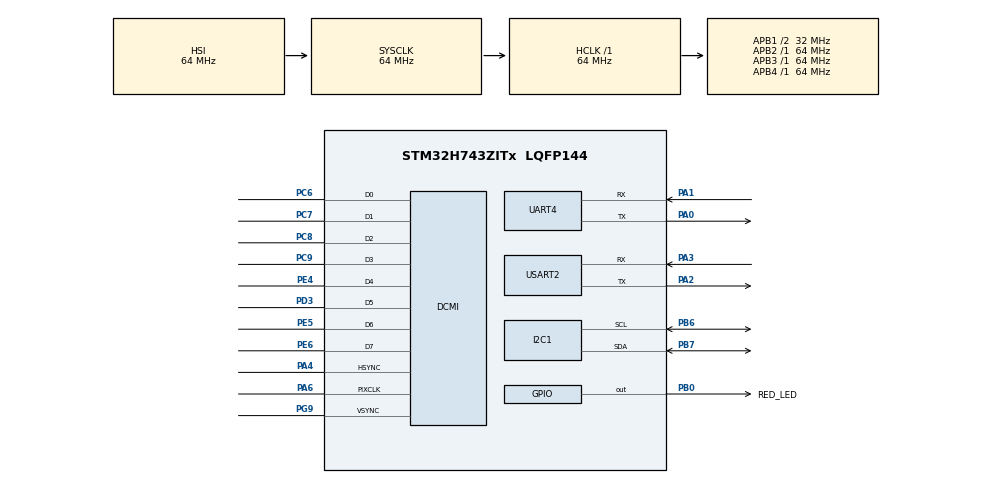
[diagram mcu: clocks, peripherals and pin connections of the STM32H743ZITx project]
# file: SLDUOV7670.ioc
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DCMI.JPEGMode=DCMI_JPEG_DISABLE
Dma.DCMI.0.Direction=DMA_PERIPH_TO_MEMORY
Dma.DCMI.0.EventEnable=DISABLE
Dma.DCMI.0.FIFOMode=DMA_FIFOMODE_DISABLE
Dma.DCMI.0.Instance=DMA1_Stream0
Dma.DCMI.0.MemDataAlignment=DMA_MDATAALIGN_WORD
Dma.DCMI.0.MemInc=DMA_MINC_ENABLE
Dma.DCMI.0.Mode=DMA_NORMAL
Dma.DCMI.0.PeriphDataAlignment=DMA_PDATAALIGN_WORD
Dma.DCMI.0.PeriphInc=DMA_PINC_DISABLE
Dma.DCMI.0.Polarity=HAL_DMAMUX_REQ_GEN_RISING
Dma.DCMI.0.Priority=DMA_PRIORITY_LOW
Dma.DCMI.0.RequestNumber=1
Dma.DCMI.0.SignalID=NONE
Dma.DCMI.0.SyncEnable=DISABLE
Dma.DCMI.0.SyncPolarity=HAL_DMAMUX_SYNC_NO_EVENT
Dma.DCMI.0.SyncRequestNumber=1
Dma.DCMI.0.SyncSignalID=NONE
Dma.Request0=DCMI
I2C1.Timing=0x00707CBB
Mcu.Family=STM32H7
Mcu.Name=STM32H743ZITx
Mcu.Package=LQFP144
NVIC.DMA1_Stream0_IRQn=true\:0\:0\:false\:false\:true\:false\:true\:true
NVIC.PriorityGroup=NVIC_PRIORITYGROUP_4
NVIC.USART2_IRQn=true\:0\:0\:false\:false\:true\:true\:true\:true
PA0.Mode=Asynchronous
PA0.Signal=UART4_TX
PA1.Mode=Asynchronous
PA1.Signal=UART4_RX
PA2.Mode=Asynchronous
PA2.Signal=USART2_TX
PA3.Mode=Asynchronous
PA3.Signal=USART2_RX
PA4.Mode=Slave_8_bits_External_Synchro
PA4.Signal=DCMI_HSYNC
PA6.Mode=Slave_8_bits_External_Synchro
PA6.Signal=DCMI_PIXCLK
PB0.GPIO_Label=RED_LED
PB0.Signal=GPIO_Output
PB6.Mode=I2C
PB6.Signal=I2C1_SCL
PB7.Mode=I2C
PB7.Signal=I2C1_SDA
PC6.Mode=Slave_8_bits_External_Synchro
PC6.Signal=DCMI_D0
PC7.Mode=Slave_8_bits_External_Synchro
PC7.Signal=DCMI_D1
PC8.Mode=Slave_8_bits_External_Synchro
PC8.Signal=DCMI_D2
PC9.Mode=Slave_8_bits_External_Synchro
PC9.Signal=DCMI_D3
PD3.Mode=Slave_8_bits_External_Synchro
PD3.Signal=DCMI_D5
PE4.Mode=Slave_8_bits_External_Synchro
PE4.Signal=DCMI_D4
PE5.Mode=Slave_8_bits_External_Synchro
PE5.Signal=DCMI_D6
PE6.Mode=Slave_8_bits_External_Synchro
PE6.Signal=DCMI_D7
PG9.Mode=Slave_8_bits_External_Synchro
PG9.Signal=DCMI_VSYNC
ProjectManager.HeapSize=0x200
ProjectManager.StackSize=0x400
ProjectManager.TargetToolchain=STM32CubeIDE
RCC.ADCFreq_Value=129000000
RCC.APB1Freq_Value=32000000
RCC.APB2Freq_Value=64000000
RCC.APB3Freq_Value=64000000
RCC.APB4Freq_Value=64000000
RCC.CortexFreq_Value=64000000
RCC.D2PPRE1=RCC_APB1_DIV2
RCC.HCLKFreq_Value=64000000
RCC.SYSCLKFreq_VALUE=64000000
RCC.USBFreq_Value=129000000
USART2.VirtualMode-Asynchronous=VM_ASYNC
VP_DMA2D_VS_DMA2D.Mode=DMA2D_Activate
board=custom

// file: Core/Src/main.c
/* USER CODE BEGIN Header */
/**
  ******************************************************************************
  * @file           : main.c
  * @brief          : Main program body
  ******************************************************************************
  * @attention
  *
  * Copyright (c) 2023 STMicroelectronics.
  * All rights reserved.
  *
  * This software is licensed under terms that can be found in the LICENSE file
  * in the root directory of this software component.
  * If no LICENSE file comes with this software, it is provided AS-IS.
  *
  ******************************************************************************
  */
/* USER CODE END Header */
#include "main.h"
#include <stdio.h>
#include <string.h>

/* USER CODE BEGIN Includes */
#define CAMERA_WIDTH 640
#define CAMERA_HEIGHT 480
/* USER CODE END Includes */

DCMI_HandleTypeDef hdcmi;
DMA_HandleTypeDef hdma_dcmi;

DMA2D_HandleTypeDef hdma2d;

I2C_HandleTypeDef hi2c1;

UART_HandleTypeDef huart4;
UART_HandleTypeDef huart2;

void SystemClock_Config(void);
static void MX_GPIO_Init(void);
static void MX_DCMI_Init(void);
static void MX_I2C1_Init(void);
static void MX_UART4_Init(void);
static void MX_DMA2D_Init(void);
static void MX_DMA_Init(void);
static void MX_USART2_UART_Init(void);

void send_string(const char* str) {
  for (size_t i = 0; i < strlen(str); i++) {
    HAL_UART_Transmit(&huart2, (uint8_t*)&str[i], 1, HAL_MAX_DELAY);
    HAL_GPIO_WritePin(RED_LED_GPIO_Port, RED_LED_Pin, 1);
  }
}
uint8_t image_buffer[CAMERA_WIDTH * CAMERA_HEIGHT];
int main(void)
{

  /* MCU Configuration--------------------------------------------------------*/

  /* Reset of all peripherals, Initializes the Flash interface and the Systick. */
  HAL_Init();

  /* Configure the system clock */
  SystemClock_Config();

  /* Initialize all configured peripherals */
  MX_GPIO_Init();
  MX_DCMI_Init();
  MX_I2C1_Init();
  MX_UART4_Init();
  MX_DMA2D_Init();
  MX_DMA_Init();
  MX_USART2_UART_Init();
  /* USER CODE BEGIN 2 */

  FILE* image_file = fopen("image.bin", "a+");
  if (image_file == NULL) {
	// Error opening file
	HAL_GPIO_TogglePin(RED_LED_GPIO_Port, RED_LED_Pin);
	//	return -1;
  }
  // Start the DMA transfer and wait for it to complete
  HAL_DMA_Start(&hdma_dcmi, (uint32_t)&DCMI->DR, (uint32_t)image_buffer, CAMERA_WIDTH * CAMERA_HEIGHT);
  HAL_DMA_PollForTransfer(&hdma_dcmi, HAL_DMA_FULL_TRANSFER, HAL_MAX_DELAY);

  // Implement the ridge detection algorithm on the image data
  for (int y = 0; y < CAMERA_HEIGHT; y++) {
    for (int x = 0; x < CAMERA_WIDTH; x++) {
      // Calculate the gradient at this pixel using Sobel operator
      int gx = image_buffer[(y - 1) * CAMERA_WIDTH + (x - 1)] + 2 * image_buffer[y * CAMERA_WIDTH + (x - 1)] + image_buffer[(y + 1) * CAMERA_WIDTH + (x - 1)]
             - image_buffer[(y - 1) * CAMERA_WIDTH + (x + 1)] - 2 * image_buffer[y * CAMERA_WIDTH + (x + 1)] - image_buffer[(y + 1) * CAMERA_WIDTH + (x + 1)];
      int gy = image_buffer[(y - 1) * CAMERA_WIDTH + (x - 1)] + 2 * image_buffer[(y - 1) * CAMERA_WIDTH + x] + image_buffer[(y - 1) * CAMERA_WIDTH + (x + 1)]
             - image_buffer[(y + 1) * CAMERA_WIDTH + (x - 1)] - 2 * image_buffer[(y + 1) * CAMERA_WIDTH + x] - image_buffer[(y + 1) * CAMERA_WIDTH + (x + 1)];
      int gradient = sqrt(gx * gx + gy * gy);

      // Threshold the gradient to detect ridges
      if (gradient > 93) {
        image_buffer[y * CAMERA_WIDTH + x] = 255;
      } else {
        image_buffer[y * CAMERA_WIDTH + x] = 0;
      }
    }
  }

  // Write the image data to the file
  fwrite(image_buffer, 1, CAMERA_WIDTH * CAMERA_HEIGHT, image_file);

  // Close the file
  fclose(image_file);

  return 0;
  /* USER CODE END 2 */

  /* Infinite loop */
  while (1)
  {
	HAL_UART_Transmit(&huart4, image_buffer, CAMERA_WIDTH * CAMERA_HEIGHT, HAL_MAX_DELAY);
	send_string("Hello, world!\n");
  }
}

void SystemClock_Config(void)
{
  RCC_OscInitTypeDef RCC_OscInitStruct = {0};
  RCC_ClkInitTypeDef RCC_ClkInitStruct = {0};

  /** Supply configuration update enable
  */
  HAL_PWREx_ConfigSupply(PWR_LDO_SUPPLY);

  /** Configure the main internal regulator output voltage
  */
  __HAL_PWR_VOLTAGESCALING_CONFIG(PWR_REGULATOR_VOLTAGE_SCALE3);

  while(!__HAL_PWR_GET_FLAG(PWR_FLAG_VOSRDY)) {}

  /** Initializes the RCC Oscillators according to the specified parameters
  * in the RCC_OscInitTypeDef structure.
  */
  RCC_OscInitStruct.OscillatorType = RCC_OSCILLATORTYPE_HSI;
  RCC_OscInitStruct.HSIState = RCC_HSI_DIV1;
  RCC_OscInitStruct.HSICalibrationValue = RCC_HSICALIBRATION_DEFAULT;
  RCC_OscInitStruct.PLL.PLLState = RCC_PLL_NONE;
  if (HAL_RCC_OscConfig(&RCC_OscInitStruct) != HAL_OK)
  {
    Error_Handler();
  }

  /** Initializes the CPU, AHB and APB buses clocks
  */
  RCC_ClkInitStruct.ClockType = RCC_CLOCKTYPE_HCLK|RCC_CLOCKTYPE_SYSCLK
                              |RCC_CLOCKTYPE_PCLK1|RCC_CLOCKTYPE_PCLK2
                              |RCC_CLOCKTYPE_D3PCLK1|RCC_CLOCKTYPE_D1PCLK1;
  RCC_ClkInitStruct.SYSCLKSource = RCC_SYSCLKSOURCE_HSI;
  RCC_ClkInitStruct.SYSCLKDivider = RCC_SYSCLK_DIV1;
  RCC_ClkInitStruct.AHBCLKDivider = RCC_HCLK_DIV1;
  RCC_ClkInitStruct.APB3CLKDivider = RCC_APB3_DIV1;
  RCC_ClkInitStruct.APB1CLKDivider = RCC_APB1_DIV2;
  RCC_ClkInitStruct.APB2CLKDivider = RCC_APB2_DIV1;
  RCC_ClkInitStruct.APB4CLKDivider = RCC_APB4_DIV1;

  if (HAL_RCC_ClockConfig(&RCC_ClkInitStruct, FLASH_LATENCY_1) != HAL_OK)
  {
    Error_Handler();
  }
}

static void MX_DCMI_Init(void)
{

  hdcmi.Instance = DCMI;
  hdcmi.Init.SynchroMode = DCMI_SYNCHRO_HARDWARE;
  hdcmi.Init.PCKPolarity = DCMI_PCKPOLARITY_FALLING;
  hdcmi.Init.VSPolarity = DCMI_VSPOLARITY_LOW;
  hdcmi.Init.HSPolarity = DCMI_HSPOLARITY_LOW;
  hdcmi.Init.CaptureRate = DCMI_CR_ALL_FRAME;
  hdcmi.Init.ExtendedDataMode = DCMI_EXTEND_DATA_8B;
  hdcmi.Init.JPEGMode = DCMI_JPEG_DISABLE;
  hdcmi.Init.ByteSelectMode = DCMI_BSM_ALL;
  hdcmi.Init.ByteSelectStart = DCMI_OEBS_ODD;
  hdcmi.Init.LineSelectMode = DCMI_LSM_ALL;
  hdcmi.Init.LineSelectStart = DCMI_OELS_ODD;
  if (HAL_DCMI_Init(&hdcmi) != HAL_OK)
  {
    Error_Handler();
  }

}

static void MX_DMA2D_Init(void)
{

  hdma2d.Instance = DMA2D;
  hdma2d.Init.Mode = DMA2D_M2M;
  hdma2d.Init.ColorMode = DMA2D_OUTPUT_ARGB8888;
  hdma2d.Init.OutputOffset = 0;
  hdma2d.LayerCfg[1].InputOffset = 0;
  hdma2d.LayerCfg[1].InputColorMode = DMA2D_INPUT_ARGB8888;
  hdma2d.LayerCfg[1].AlphaMode = DMA2D_NO_MODIF_ALPHA;
  hdma2d.LayerCfg[1].InputAlpha = 0;
  hdma2d.LayerCfg[1].AlphaInverted = DMA2D_REGULAR_ALPHA;
  hdma2d.LayerCfg[1].RedBlueSwap = DMA2D_RB_REGULAR;
  hdma2d.LayerCfg[1].ChromaSubSampling = DMA2D_NO_CSS;
  if (HAL_DMA2D_Init(&hdma2d) != HAL_OK)
  {
    Error_Handler();
  }
  if (HAL_DMA2D_ConfigLayer(&hdma2d, 1) != HAL_OK)
  {
    Error_Handler();
  }

}

static void MX_I2C1_Init(void)
{

  hi2c1.Instance = I2C1;
  hi2c1.Init.Timing = 0x00707CBB;
  hi2c1.Init.OwnAddress1 = 0;
  hi2c1.Init.AddressingMode = I2C_ADDRESSINGMODE_7BIT;
  hi2c1.Init.DualAddressMode = I2C_DUALADDRESS_DISABLE;
  hi2c1.Init.OwnAddress2 = 0;
  hi2c1.Init.OwnAddress2Masks = I2C_OA2_NOMASK;
  hi2c1.Init.GeneralCallMode = I2C_GENERALCALL_DISABLE;
  hi2c1.Init.NoStretchMode = I2C_NOSTRETCH_DISABLE;
  if (HAL_I2C_Init(&hi2c1) != HAL_OK)
  {
    Error_Handler();
  }

  /** Configure Analogue filter
  */
  if (HAL_I2CEx_ConfigAnalogFilter(&hi2c1, I2C_ANALOGFILTER_ENABLE) != HAL_OK)
  {
    Error_Handler();
  }

  /** Configure Digital filter
  */
  if (HAL_I2CEx_ConfigDigitalFilter(&hi2c1, 0) != HAL_OK)
  {
    Error_Handler();
  }

}

static void MX_UART4_Init(void)
{

  huart4.Instance = UART4;
  huart4.Init.BaudRate = 115200;
  huart4.Init.WordLength = UART_WORDLENGTH_8B;
  huart4.Init.StopBits = UART_STOPBITS_1;
  huart4.Init.Parity = UART_PARITY_NONE;
  huart4.Init.Mode = UART_MODE_TX_RX;
  huart4.Init.HwFlowCtl = UART_HWCONTROL_NONE;
  huart4.Init.OverSampling = UART_OVERSAMPLING_16;
  huart4.Init.OneBitSampling = UART_ONE_BIT_SAMPLE_DISABLE;
  huart4.Init.ClockPrescaler = UART_PRESCALER_DIV1;
  huart4.AdvancedInit.AdvFeatureInit = UART_ADVFEATURE_NO_INIT;
  if (HAL_UART_Init(&huart4) != HAL_OK)
  {
    Error_Handler();
  }
  if (HAL_UARTEx_SetTxFifoThreshold(&huart4, UART_TXFIFO_THRESHOLD_1_8) != HAL_OK)
  {
    Error_Handler();
  }
  if (HAL_UARTEx_SetRxFifoThreshold(&huart4, UART_RXFIFO_THRESHOLD_1_8) != HAL_OK)
  {
    Error_Handler();
  }
  if (HAL_UARTEx_DisableFifoMode(&huart4) != HAL_OK)
  {
    Error_Handler();
  }

}

static void MX_USART2_UART_Init(void)
{

  huart2.Instance = USART2;
  huart2.Init.BaudRate = 115200;
  huart2.Init.WordLength = UART_WORDLENGTH_8B;
  huart2.Init.StopBits = UART_STOPBITS_1;
  huart2.Init.Parity = UART_PARITY_NONE;
  huart2.Init.Mode = UART_MODE_TX_RX;
  huart2.Init.HwFlowCtl = UART_HWCONTROL_NONE;
  huart2.Init.OverSampling = UART_OVERSAMPLING_16;
  huart2.Init.OneBitSampling = UART_ONE_BIT_SAMPLE_DISABLE;
  huart2.Init.ClockPrescaler = UART_PRESCALER_DIV1;
  huart2.AdvancedInit.AdvFeatureInit = UART_ADVFEATURE_NO_INIT;
  if (HAL_UART_Init(&huart2) != HAL_OK)
  {
    Error_Handler();
  }
  if (HAL_UARTEx_SetTxFifoThreshold(&huart2, UART_TXFIFO_THRESHOLD_1_8) != HAL_OK)
  {
    Error_Handler();
  }
  if (HAL_UARTEx_SetRxFifoThreshold(&huart2, UART_RXFIFO_THRESHOLD_1_8) != HAL_OK)
  {
    Error_Handler();
  }
  if (HAL_UARTEx_DisableFifoMode(&huart2) != HAL_OK)
  {
    Error_Handler();
  }

}

static void MX_DMA_Init(void)
{

  /* DMA controller clock enable */
  __HAL_RCC_DMA1_CLK_ENABLE();

  /* DMA interrupt init */
  /* DMA1_Stream0_IRQn interrupt configuration */
  HAL_NVIC_SetPriority(DMA1_Stream0_IRQn, 0, 0);
  HAL_NVIC_EnableIRQ(DMA1_Stream0_IRQn);

}

static void MX_GPIO_Init(void)
{
  GPIO_InitTypeDef GPIO_InitStruct = {0};

  /* GPIO Ports Clock Enable */
  __HAL_RCC_GPIOE_CLK_ENABLE();
  __HAL_RCC_GPIOA_CLK_ENABLE();
  __HAL_RCC_GPIOB_CLK_ENABLE();
  __HAL_RCC_GPIOC_CLK_ENABLE();
  __HAL_RCC_GPIOD_CLK_ENABLE();
  __HAL_RCC_GPIOG_CLK_ENABLE();

  /*Configure GPIO pin Output Level */
  HAL_GPIO_WritePin(RED_LED_GPIO_Port, RED_LED_Pin, GPIO_PIN_RESET);

  /*Configure GPIO pin : RED_LED_Pin */
  GPIO_InitStruct.Pin = RED_LED_Pin;
  GPIO_InitStruct.Mode = GPIO_MODE_OUTPUT_PP;
  GPIO_InitStruct.Pull = GPIO_NOPULL;
  GPIO_InitStruct.Speed = GPIO_SPEED_FREQ_LOW;
  HAL_GPIO_Init(RED_LED_GPIO_Port, &GPIO_InitStruct);

}

void Error_Handler(void)
{
  __disable_irq();
  while (1)
  {
  }
}
